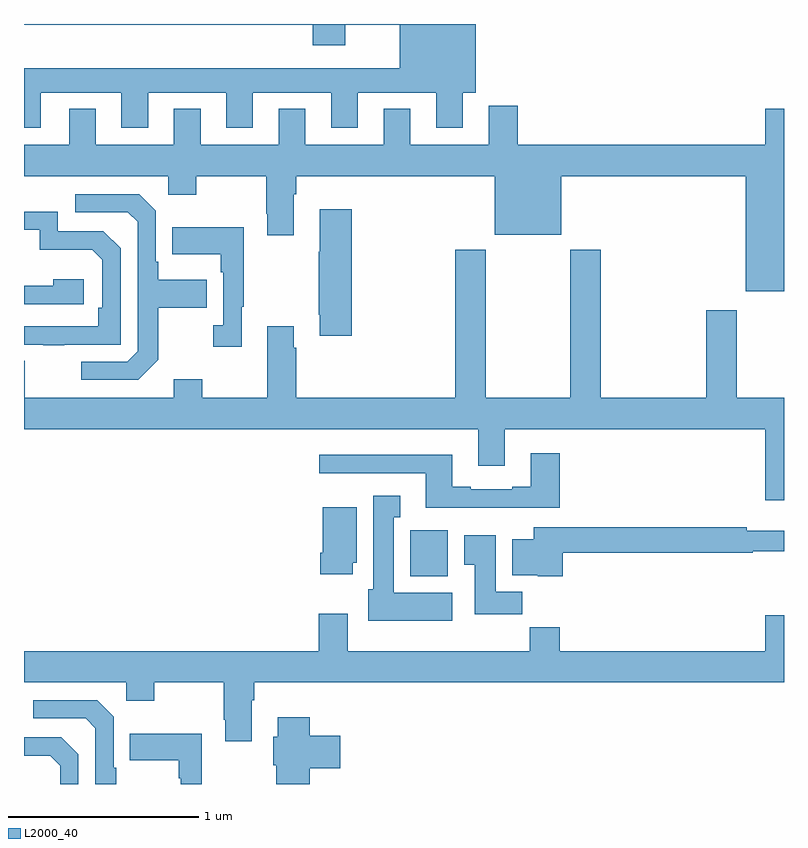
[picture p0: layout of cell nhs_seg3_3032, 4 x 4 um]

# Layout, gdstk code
import gdstk
lib = gdstk.Library(unit=1e-6, precision=1e-09)
def R(c, l, rs):  # rectangles x0, y0, x1, y1
    for r in rs: c.add(gdstk.rectangle(r[:2], r[2:], *l))
def P(c, l, *ps):  # polygons
    for p in ps: c.add(gdstk.Polygon(p, *l))
L2000_40 = (2000, 40)

nhs_seg3_3032 = lib.new_cell('nhs_seg3_3032')
R(nhs_seg3_3032, L2000_40, [(271.034,681.494,271.231,681.736)])
P(nhs_seg3_3032, L2000_40, [(269.089,684.038),(269.513,684.038),(269.513,683.853),(269.653,683.853),(269.653,684.038),(270.065,684.038),(270.065,683.853),(270.205,683.853),(270.205,684.038),(270.617,684.038),(270.617,683.853),(270.757,683.853),(270.757,684.038),(271.169,684.038),(271.169,683.853),(271.309,683.853),(271.309,684.038),(271.378,684.038),(271.378,684.4),(269,684.4),(269,684.395),(270.521,684.395),(270.521,684.287),(270.691,684.287),(270.691,684.395),(270.977,684.395),(270.977,684.166),(269,684.166),(269,683.853),(269.089,683.853)],
  [(273,683.953),(272.9,683.953),(272.9,683.764),(271.598,683.764),(271.598,683.971),(271.445,683.971),(271.445,683.764),(271.033,683.764),(271.033,683.953),(270.893,683.953),(270.893,683.764),(270.481,683.764),(270.481,683.953),(270.341,683.953),(270.341,683.764),(269.929,683.764),(269.929,683.953),(269.789,683.953),(269.789,683.764),(269.377,683.764),(269.377,683.953),(269.237,683.953),(269.237,683.764),(269,683.764),(269,683.6),(269.76,683.6),(269.76,683.501),(269.907,683.501),(269.907,683.6),(270.274,683.6),(270.274,683.401),(270.281,683.401),(270.281,683.289),(270.421,683.289),(270.421,683.504),(270.434,683.504),(270.434,683.6),(271.478,683.6),(271.478,683.291),(271.828,683.291),(271.828,683.6),(272.798,683.6),(272.798,682.994),(273,682.994)],
  [(269.707,682.633),(269.707,682.906),(269.963,682.906),(269.963,683.053),(269.707,683.053),(269.707,683.149),(269.694,683.149),(269.694,683.418),(269.607,683.505),(269.271,683.505),(269.271,683.409),(269.547,683.409),(269.598,683.358),(269.598,682.677),(269.544,682.623),(269.301,682.623),(269.301,682.527),(269.601,682.527)],
  [(270.725,683.425),(270.557,683.425),(270.557,683.201),(270.55,683.201),(270.55,682.87),(270.557,682.87),(270.557,682.758),(270.725,682.758)],
  [(269.213,682.713),(269.508,682.713),(269.508,683.22),(269.418,683.31),(269.178,683.31),(269.178,683.412),(269,683.412),(269,683.316),(269.082,683.316),(269.082,683.213),(269.359,683.213),(269.412,683.16),(269.412,682.906),(269.392,682.906),(269.392,682.809),(269,682.809),(269,682.713),(269.101,682.713),(269.101,682.708),(269.213,682.708)],
  [(270.145,682.913),(270.157,682.913),(270.157,683.329),(269.779,683.329),(269.779,683.189),(270.036,683.189),(270.036,683.093),(270.048,683.093),(270.048,682.814),(269.997,682.814),(269.997,682.701),(270.145,682.701)],
  [(273,682.432),(272.751,682.432),(272.751,682.894),(272.591,682.894),(272.591,682.432),(272.036,682.432),(272.036,683.212),(271.876,683.212),(271.876,682.432),(271.431,682.432),(271.431,683.212),(271.271,683.212),(271.271,682.432),(270.434,682.432),(270.434,682.697),(270.421,682.697),(270.421,682.81),(270.281,682.81),(270.281,682.432),(269.937,682.432),(269.937,682.531),(269.789,682.531),(269.789,682.432),(269.005,682.432),(269.005,682.627),(269,682.627),(269,682.268),(271.391,682.268),(271.391,682.074),(271.531,682.074),(271.531,682.268),(272.9,682.268),(272.9,681.894),(273,681.894)],
  [(269.314,683.056),(269.153,683.056),(269.153,683.022),(269,683.022),(269,682.926),(269.314,682.926)],
  [(271.82,682.141),(271.667,682.141),(271.667,681.964),(271.571,681.964),(271.571,681.951),(271.351,681.951),(271.351,681.964),(271.255,681.964),(271.255,682.132),(270.555,682.132),(270.555,682.035),(271.115,682.035),(271.115,681.854),(271.82,681.854)],
  [(271.255,681.406),(270.946,681.406),(270.946,681.803),(270.979,681.803),(270.979,681.916),(270.839,681.916),(270.839,681.426),(270.812,681.426),(270.812,681.26),(271.255,681.26)],
  [(270.73,681.564),(270.751,681.564),(270.751,681.856),(270.572,681.856),(270.572,681.616),(270.56,681.616),(270.56,681.504),(270.73,681.504)],
  [(271.835,681.616),(272.836,681.616),(272.836,681.624),(273,681.624),(273,681.733),(272.804,681.733),(272.804,681.752),(271.682,681.752),(271.682,681.688),(271.571,681.688),(271.571,681.5),(271.704,681.5),(271.704,681.494),(271.835,681.494)],
  [(271.622,681.412),(271.483,681.412),(271.483,681.709),(271.316,681.709),(271.316,681.553),(271.373,681.553),(271.373,681.294),(271.622,681.294)],
  [(270.199,680.84),(270.212,680.84),(270.212,680.936),(273,680.936),(273,681.289),(272.9,681.289),(272.9,681.1),(271.82,681.1),(271.82,681.224),(271.663,681.224),(271.663,681.1),(270.703,681.1),(270.703,681.295),(270.551,681.295),(270.551,681.1),(269,681.1),(269,680.936),(269.538,680.936),(269.538,680.837),(269.685,680.837),(269.685,680.936),(270.052,680.936),(270.052,680.737),(270.059,680.737),(270.059,680.625),(270.199,680.625)],
  [(269.485,680.485),(269.472,680.485),(269.472,680.754),(269.385,680.841),(269.049,680.841),(269.049,680.745),(269.325,680.745),(269.376,680.694),(269.376,680.4),(269.485,680.4)],
  [(270.503,680.483),(270.664,680.483),(270.664,680.653),(270.503,680.653),(270.503,680.752),(270.335,680.752),(270.335,680.649),(270.311,680.649),(270.311,680.499),(270.328,680.499),(270.328,680.4),(270.503,680.4)],
  [(269.935,680.665),(269.557,680.665),(269.557,680.525),(269.814,680.525),(269.814,680.429),(269.826,680.429),(269.826,680.4),(269.935,680.4)],
  [(269.286,680.556),(269.196,680.646),(269,680.646),(269,680.549),(269.137,680.549),(269.19,680.496),(269.19,680.4),(269.286,680.4)])

lib.write_gds('nhs_seg3_3032.gds')
